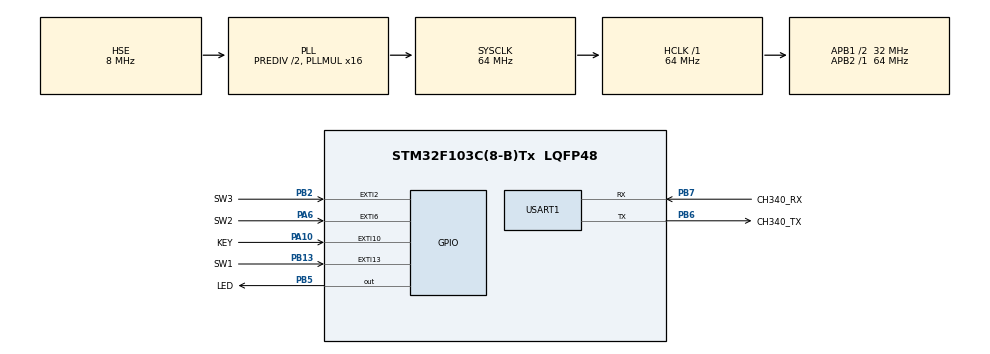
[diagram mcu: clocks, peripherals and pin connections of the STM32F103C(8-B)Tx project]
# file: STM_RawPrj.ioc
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Mcu.Family=STM32F1
Mcu.Name=STM32F103C(8-B)Tx
Mcu.Package=LQFP48
NVIC.EXTI15_10_IRQn=true\:3\:0\:true\:false\:true\:true\:true\:true
NVIC.EXTI2_IRQn=true\:1\:0\:true\:false\:true\:true\:true\:true
NVIC.EXTI9_5_IRQn=true\:2\:0\:true\:false\:true\:true\:true\:true
NVIC.PriorityGroup=NVIC_PRIORITYGROUP_4
PA10.GPIO_Label=KEY
PA10.GPIO_PuPd=GPIO_PULLUP
PA10.Signal=GPXTI10
PA13.GPIO_Label=SYS_SWDIO
PA13.Mode=Trace_Asynchronous_SW
PA13.Signal=SYS_JTMS-SWDIO
PA14.GPIO_Label=SYS_SWCLK
PA14.Mode=Trace_Asynchronous_SW
PA14.Signal=SYS_JTCK-SWCLK
PA6.GPIO_Label=SW2
PA6.GPIO_ModeDefaultEXTI=GPIO_MODE_IT_FALLING
PA6.GPIO_PuPd=GPIO_PULLUP
PA6.Signal=GPXTI6
PB13.GPIO_Label=SW1
PB13.GPIO_ModeDefaultEXTI=GPIO_MODE_IT_RISING
PB13.GPIO_PuPd=GPIO_PULLUP
PB13.Signal=GPXTI13
PB2.GPIO_Label=SW3
PB2.GPIO_PuPd=GPIO_PULLUP
PB2.Signal=GPXTI2
PB3.GPIO_Label=SYS_SWO
PB3.Mode=Trace_Asynchronous_SW
PB3.Signal=SYS_JTDO-TRACESWO
PB5.GPIO_Label=LED
PB5.Signal=GPIO_Output
PB6.GPIO_Label=CH340_TX
PB6.Mode=Asynchronous
PB6.Signal=USART1_TX
PB7.GPIO_Label=CH340_RX
PB7.Mode=Asynchronous
PB7.Signal=USART1_RX
PC14-OSC32_IN.Mode=LSE-External-Oscillator
PC14-OSC32_IN.Signal=RCC_OSC32_IN
PC15-OSC32_OUT.Mode=LSE-External-Oscillator
PC15-OSC32_OUT.Signal=RCC_OSC32_OUT
PD0-OSC_IN.Mode=HSE-External-Oscillator
PD0-OSC_IN.Signal=RCC_OSC_IN
PD1-OSC_OUT.Mode=HSE-External-Oscillator
PD1-OSC_OUT.Signal=RCC_OSC_OUT
ProjectManager.HeapSize=0x200
ProjectManager.StackSize=0x400
ProjectManager.TargetToolchain=MDK-ARM V5.32
RCC.AHBFreq_Value=64000000
RCC.APB1CLKDivider=RCC_HCLK_DIV2
RCC.APB1Freq_Value=32000000
RCC.APB1TimFreq_Value=64000000
RCC.APB2Freq_Value=64000000
RCC.APB2TimFreq_Value=64000000
RCC.EnbaleCSS=true
RCC.HCLKFreq_Value=64000000
RCC.HSEDivPLL=RCC_HSE_PREDIV_DIV2
RCC.HSICalibrationValue=16
RCC.PLLMUL=RCC_PLL_MUL16
RCC.PLLSourceVirtual=RCC_PLLSOURCE_HSE
RCC.RCC_MCOSource=RCC_MCO1SOURCE_HSE
RCC.SYSCLKFreq_VALUE=64000000
RCC.SYSCLKSource=RCC_SYSCLKSOURCE_PLLCLK
RCC.USBFreq_Value=64000000
USART1.VirtualMode=VM_ASYNC
board=custom

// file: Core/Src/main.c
/* USER CODE BEGIN Header */
/**
  ******************************************************************************
  * @file           : main.c
  * @brief          : Main program body
  ******************************************************************************
  * @attention
  *
  * Copyright (c) 2025 STMicroelectronics.
  * All rights reserved.
  *
  * This software is licensed under terms that can be found in the LICENSE file
  * in the root directory of this software component.
  * If no LICENSE file comes with this software, it is provided AS-IS.
  *
  ******************************************************************************
  */
/* USER CODE END Header */
#include "main.h"
#include "usart.h"
#include "gpio.h"

/* USER CODE BEGIN Includes */
#include "akareza.h"
/* USER CODE END Includes */

void SystemClock_Config(void);

int main(void)
{

  /* MCU Configuration--------------------------------------------------------*/

  /* Reset of all peripherals, Initializes the Flash interface and the Systick. */
  HAL_Init();

  /* Configure the system clock */
  SystemClock_Config();

  /* Initialize all configured peripherals */
  MX_GPIO_Init();
  MX_USART1_UART_Init();

  /* Infinite loop */
  while (1)
  {

  }
}

void SystemClock_Config(void)
{
  RCC_OscInitTypeDef RCC_OscInitStruct = {0};
  RCC_ClkInitTypeDef RCC_ClkInitStruct = {0};

  /** Initializes the RCC Oscillators according to the specified parameters
  * in the RCC_OscInitTypeDef structure.
  */
  RCC_OscInitStruct.OscillatorType = RCC_OSCILLATORTYPE_HSE;
  RCC_OscInitStruct.HSEState = RCC_HSE_ON;
  RCC_OscInitStruct.HSEPredivValue = RCC_HSE_PREDIV_DIV2;
  RCC_OscInitStruct.HSIState = RCC_HSI_ON;
  RCC_OscInitStruct.PLL.PLLState = RCC_PLL_ON;
  RCC_OscInitStruct.PLL.PLLSource = RCC_PLLSOURCE_HSE;
  RCC_OscInitStruct.PLL.PLLMUL = RCC_PLL_MUL16;
  if (HAL_RCC_OscConfig(&RCC_OscInitStruct) != HAL_OK)
  {
    Error_Handler();
  }

  /** Initializes the CPU, AHB and APB buses clocks
  */
  RCC_ClkInitStruct.ClockType = RCC_CLOCKTYPE_HCLK|RCC_CLOCKTYPE_SYSCLK
                              |RCC_CLOCKTYPE_PCLK1|RCC_CLOCKTYPE_PCLK2;
  RCC_ClkInitStruct.SYSCLKSource = RCC_SYSCLKSOURCE_PLLCLK;
  RCC_ClkInitStruct.AHBCLKDivider = RCC_SYSCLK_DIV1;
  RCC_ClkInitStruct.APB1CLKDivider = RCC_HCLK_DIV2;
  RCC_ClkInitStruct.APB2CLKDivider = RCC_HCLK_DIV1;

  if (HAL_RCC_ClockConfig(&RCC_ClkInitStruct, FLASH_LATENCY_2) != HAL_OK)
  {
    Error_Handler();
  }

  /** Enables the Clock Security System
  */
  HAL_RCC_EnableCSS();
}

/* USER CODE BEGIN 4 */
/**
  * @brief  EXTI line detection callbacks.
  * @param  GPIO_Pin: Specifies the pins connected EXTI line
  * @retval None
  */
void HAL_GPIO_EXTI_Callback(uint16_t GPIO_Pin)
{
	switch(GPIO_Pin)
	{
		case SW1_Pin:
			printf("EXTI: SW1_Pin\r\n");
		break;

		case SW2_Pin:
			printf("EXTI: SW2_Pin\r\n");
		break;

		case SW3_Pin:
			printf("EXTI: SW3_Pin\r\n");
		break;

		case KEY_Pin:
			printf("EXTI: KEY_Pin\r\n");
		break;
	};
}
/* USER CODE END 4 */

void Error_Handler(void)
{
  __disable_irq();
  while (1)
  {
  }
}
